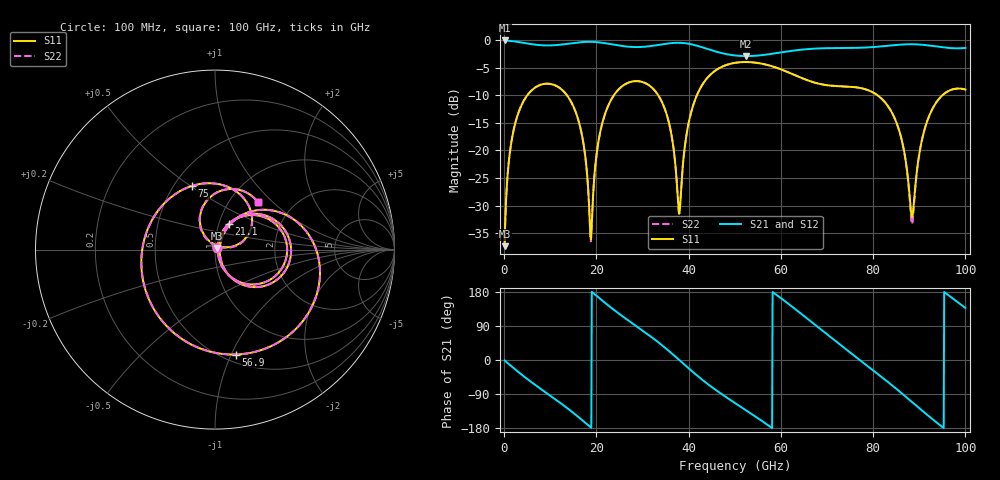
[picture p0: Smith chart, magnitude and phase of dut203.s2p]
! Touchstone file exported from HFSS 2026.1.0
!  File:  C:/ffzhzh/LocalFiles/Ansys_Project_Files/temp_train_TSV_RDL_203_1783659150_29156.aedt
!  Generated:  01:00:55 PM Jul 10, 2026
!  Design:  TSV_RDL
!  Project:  temp_train_TSV_RDL_203_1783659150_29156
! Variables:
!  h_bsmrdl = 3.85um
!  h_ox = 20um
!  h_rdl = 5um
!  h_sub = 76.27um
!  h_tmrdl = 4.87um
!  h_tsv = 76.27um
!  h_via = 3um
!  l_bsmrdl = 693.84um
!  l_sub = 3152.75um
!  l_tmrdl = 130.51um
!  m_sub = 200um
!  pitch = 47.37um
!  r_tsv = 12.02um
!  s_tmrdl = 10um
!  w_bsmrdl = 24.98um
!  w_sub = 500um
!  w_tmrdl = 24.75um
!  x_tsv_center1 = 142.885um
!  x_tsv_center2 = 861.705um
!  x_tsv_center3 = 1016.965um
!  x_tsv_center4 = 1735.785um
!  x_tsv_center5 = 1891.045um
!  x_tsv_center6 = 2609.865um
# GHz S MA R 50.000000
! Terminal data exported
! Port[1] = TM_RDL1_1_T1
! Port[2] = TM_RDL5_1_T1
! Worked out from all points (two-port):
!   1000 points, 100 MHz to 100 GHz, reference 50 ohm
!   highest |S21| = -0.09 dB at 100 MHz (marker M1); lowest = -2.9 dB at 52.5 GHz (marker M2)
!   |S21| within 3 dB of the highest: start of sweep to end of sweep
!   lowest |S11| = -37.3 dB at 100 MHz (marker M3), VSWR 1.03, Z = 51.1 + j0.874 ohm
!   |S11| at or under -10 dB: 13.61 GHz to 23.8 GHz (10.19 GHz wide, 54.5 % of centre); 33.39 GHz to 41.79 GHz (8.4 GHz wide, 22.3 % of centre); 80.93 GHz to 95.03 GHz (14.11 GHz wide, 16 % of centre) (the widest 3 of 4)
!   |S22| runs from -37.3 to -4.0 dB; largest |S21 - S12| = 5.5e-13
!   S11 on the Smith chart (normalised r, x): 100 MHz: 1.02, +0.02; 21.1 GHz: 1.12, +0.33; 56.9 GHz: 0.57, -1.04; 75 GHz: 0.61, +0.50; 100 GHz: 1.35, +0.81
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0.1  0.0136 39.0  0.9896 -1.1  0.9896 -1.1  0.0136 39.0
! Gamma 0 0 0 0
! Port Impedance 50 0 50 0
1.8  0.1355 64.7  0.9756 -18.8  0.9756 -18.8  0.1355 64.7
5.3  0.3268 33.8  0.9244 -52.8  0.9244 -52.8  0.3268 33.8
11.4  0.3821 -17.8  0.8992 -106.4  0.8992 -106.4  0.3821 -17.9
16.8  0.1423 -63.6  0.9559 -157.5  0.9559 -157.5  0.1424 -63.8
18.8  0.01565 2.7  0.9618 -178.0  0.9618 -178.0  0.01505 2.4
21.1  0.1649 61.6  0.9448 158.5  0.9448 158.5  0.1647 61.9
26.9  0.4102 12.6  0.8688 104.5  0.8688 104.5  0.4101 12.6
33.4  0.316 -41.4  0.901 47.0  0.901 47.0  0.3161 -41.2
36  0.1586 -61.8  0.9342 21.0  0.9342 21.0  0.1589 -61.6
38  0.0268 7.7  0.9423 -0.3  0.9423 -0.3  0.02732 7.1
41.7  0.3095 44.6  0.8893 -39.7  0.8893 -39.7  0.3093 44.5
50.1  0.6212 -25.1  0.7234 -113.9  0.7234 -113.9  0.621 -25.0
52.5  0.6313 -43.5  0.7144 -133.1  0.7144 -133.1  0.6311 -43.4
56.9  0.5962 -78.7  0.7373 -169.3  0.7373 -169.3  0.5961 -78.5
66.7  0.4186 -168.8  0.8317 99.7  0.8317 99.7  0.4185 -168.5
75  0.3776 110.3  0.846 19.9  0.846 19.9  0.3773 110.3
83.4  0.2452 33.7  0.888 -59.8  0.888 -59.8  0.2448 33.0
86.3  0.1195 11.5  0.9094 -88.9  0.9094 -88.9  0.1187 10.0
88.4  0.02492 63.5  0.9145 -110.6  0.9145 -110.6  0.02158 63.1
92.3  0.2126 112.5  0.8889 -150.6  0.8889 -150.6  0.2124 113.2
100  0.3558 47.8  0.8471 137.3  0.8471 137.3  0.3557 47.7
